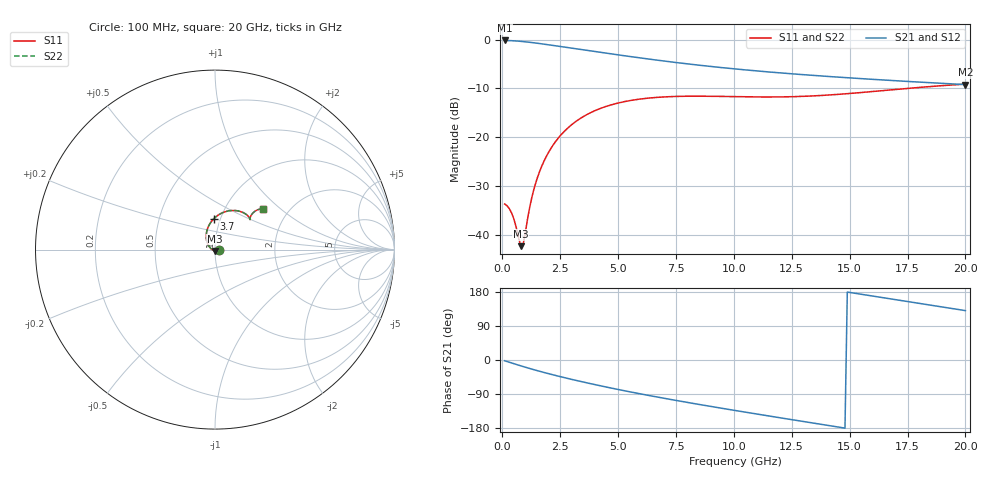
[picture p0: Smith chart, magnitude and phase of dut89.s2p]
! Created with skrf 1.9.0 (http://scikit-rf.org).
# GHz S RI R 50.0
!freq ReS11 ImS11 ReS21 ImS21 ReS12 ImS12 ReS22 ImS22
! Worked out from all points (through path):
!   200 points, 100 MHz to 20 GHz, reference 50 ohm
!   highest |S21| = -0.19 dB at 100 MHz (marker M1); lowest = -9.2 dB at 20 GHz (marker M2)
!   group delay of S21, straight-line fit = 30.1 ps
!   lowest |S11| = -42.4 dB at 800 MHz (marker M3), VSWR 1.02, Z = 50 - j0.758 ohm
!   |S11| at or under -10 dB: start of sweep to 17.56 GHz
!   |S22| runs from -42.4 to -9.1 dB; largest |S21 - S12| = 2.2e-15
!   S11 on the Smith chart (normalised r, x): 100 MHz: 1.04, -0.00; 3.7 GHz: 0.93, +0.33; 20 GHz: 1.48, +0.77
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0.1  0.0205 -0.00194  0.9782 -0.0338  0.9782 -0.0338  0.0205 -0.00194
0.4  0.0151 -0.00711  0.9644 -0.1328  0.9644 -0.1328  0.0151 -0.00711
0.6  0.00828 -0.00855  0.9469 -0.1959  0.9469 -0.1959  0.00828 -0.00855
0.8  -0.000357 -0.00759  0.9237 -0.2554  0.9237 -0.2554  -0.000357 -0.00759
0.9  -0.0051 -0.00607  0.9102 -0.2836  0.9102 -0.2836  -0.0051 -0.00607
1.2  -0.0197 0.00277  0.8638 -0.3617  0.8638 -0.3617  -0.0197 0.00277
1.4  -0.0288 0.012  0.8289 -0.4081  0.8289 -0.4081  -0.0288 0.012
1.6  -0.0366 0.0236  0.7918 -0.45  0.7918 -0.45  -0.0366 0.0236
1.8  -0.0427 0.0371  0.7532 -0.4876  0.7532 -0.4876  -0.0427 0.0371
2.1  -0.048 0.0595  0.6934 -0.5363  0.6934 -0.5363  -0.048 0.0595
2.5  -0.0477 0.0911  0.6123 -0.5885  0.6123 -0.5885  -0.0477 0.0911
3  -0.0366 0.129  0.5112 -0.6358  0.5112 -0.6358  -0.0366 0.129
3.5  -0.0164 0.1613  0.4128 -0.6663  0.4128 -0.6663  -0.0164 0.1613
3.7  -0.00659 0.1722  0.3746 -0.6743  0.3746 -0.6743  -0.00659 0.1722
5  0.0655 0.2134  0.1474 -0.6807  0.1474 -0.6807  0.0655 0.2134
6.8  0.146 0.2107  -0.0948 -0.6024  -0.0948 -0.6024  0.146 0.2107
8.4  0.1823 0.1888  -0.2429 -0.4922  -0.2429 -0.4922  0.1823 0.1888
10.1  0.1947 0.1713  -0.3442 -0.3604  -0.3442 -0.3604  0.1947 0.1713
11.7  0.1953 0.1678  -0.3976 -0.2335  -0.3976 -0.2335  0.1953 0.1678
13.4  0.1958 0.1771  -0.4168 -0.1025  -0.4168 -0.1025  0.1958 0.1771
16.7  0.2184 0.2105  -0.3627 0.1185  -0.3627 0.1185  0.2184 0.2105
20  0.2648 0.2274  -0.2236 0.263  -0.2236 0.263  0.2648 0.2274
